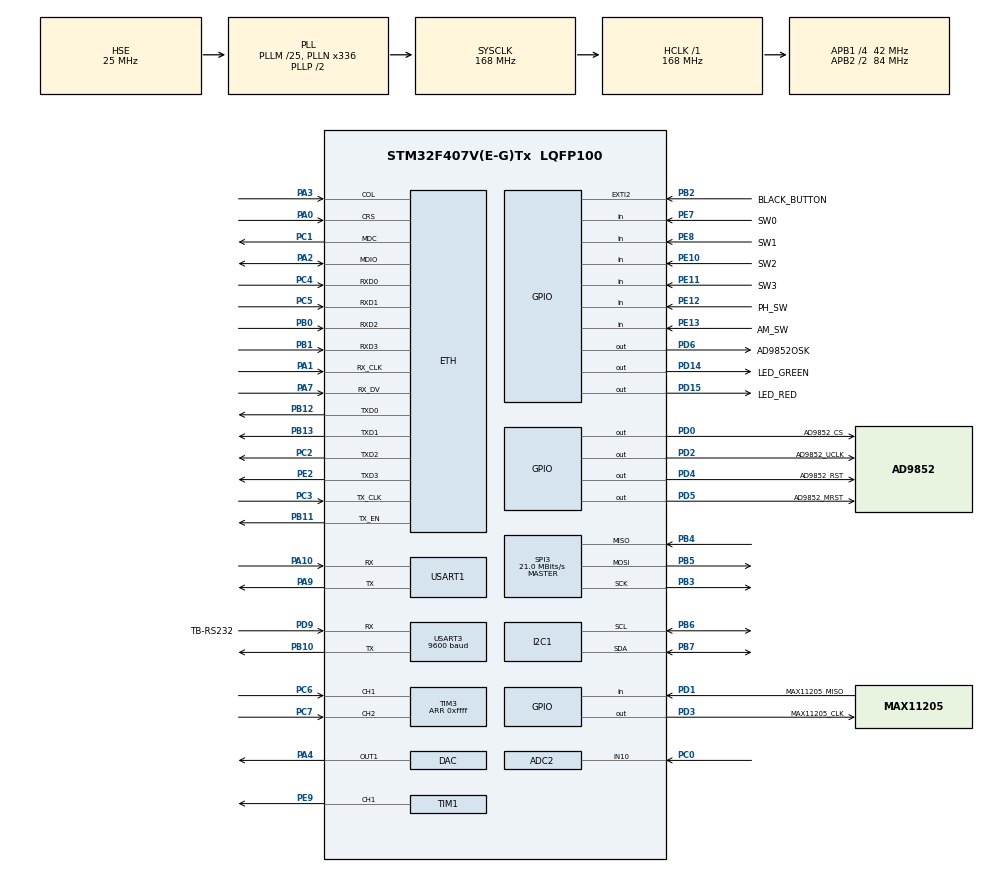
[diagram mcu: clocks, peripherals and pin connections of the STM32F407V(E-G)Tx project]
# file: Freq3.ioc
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ADC2.Channel-11\#ChannelRegularConversion=ADC_CHANNEL_10
ADC2.ContinuousConvMode=ENABLE
ADC2.NbrOfConversion=1
ADC2.NbrOfConversionFlag=1
ADC2.Rank-11\#ChannelRegularConversion=1
ADC2.SamplingTime-11\#ChannelRegularConversion=ADC_SAMPLETIME_3CYCLES
FREERTOS.INCLUDE_eTaskGetState=1
FREERTOS.INCLUDE_uxTaskGetStackHighWaterMark=1
FREERTOS.Tasks01=defaultTask,0,512,StartDefaultTask,Default
FREERTOS.configCHECK_FOR_STACK_OVERFLOW=1
FREERTOS.configMINIMAL_STACK_SIZE=512
FREERTOS.configTOTAL_HEAP_SIZE=40000
FREERTOS.configUSE_MALLOC_FAILED_HOOK=1
Mcu.Family=STM32F4
Mcu.Name=STM32F407V(E-G)Tx
Mcu.Package=LQFP100
NVIC.ADC_IRQn=true\:7\:0\:true\:false\:true
NVIC.EXTI2_IRQn=true\:10\:0\:true\:false\:true
NVIC.PriorityGroup=NVIC_PRIORITYGROUP_4
NVIC.RTC_Alarm_IRQn=true\:8\:0\:true\:false\:true
NVIC.SPI3_IRQn=true\:6\:0\:true\:false\:true
NVIC.TIM6_DAC_IRQn=true\:0\:0\:false\:false\:true
NVIC.TIM8_BRK_TIM12_IRQn=true\:5\:0\:false\:false\:true
NVIC.TimeBase=TIM6_DAC_IRQn
NVIC.TimeBaseIP=TIM6
NVIC.USART3_IRQn=true\:5\:0\:false\:false\:true
PA0-WKUP.Mode=MII
PA0-WKUP.Signal=ETH_CRS
PA1.Mode=MII
PA1.Signal=ETH_RX_CLK
PA10.Mode=Asynchronous
PA10.Signal=USART1_RX
PA13.Mode=Serial-Wire
PA13.Signal=SYS_JTMS-SWDIO
PA14.Mode=Serial-Wire
PA14.Signal=SYS_JTCK-SWCLK
PA2.Mode=MII
PA2.Signal=ETH_MDIO
PA3.Mode=MII
PA3.Signal=ETH_COL
PA4.Signal=COMP_DAC1_group
PA7.Mode=MII
PA7.Signal=ETH_RX_DV
PA9.Mode=Asynchronous
PA9.Signal=USART1_TX
PB0.Mode=MII
PB0.Signal=ETH_RXD2
PB1.Mode=MII
PB1.Signal=ETH_RXD3
PB10.Mode=Asynchronous
PB10.Signal=USART3_TX
PB11.Mode=MII
PB11.Signal=ETH_TX_EN
PB12.Mode=MII
PB12.Signal=ETH_TXD0
PB13.Mode=MII
PB13.Signal=ETH_TXD1
PB2.GPIO_Label=BLACK_BUTTON
PB2.Signal=GPXTI2
PB3.Mode=Full_Duplex_Master
PB3.Signal=SPI3_SCK
PB4.Mode=Full_Duplex_Master
PB4.Signal=SPI3_MISO
PB5.Mode=Full_Duplex_Master
PB5.Signal=SPI3_MOSI
PB6.Mode=I2C
PB6.Signal=I2C1_SCL
PB7.Mode=I2C
PB7.Signal=I2C1_SDA
PC0.Signal=ADCx_IN10
PC1.Mode=MII
PC1.Signal=ETH_MDC
PC14-OSC32_IN.Mode=LSE-External-Oscillator
PC14-OSC32_IN.Signal=RCC_OSC32_IN
PC15-OSC32_OUT.Mode=LSE-External-Oscillator
PC15-OSC32_OUT.Signal=RCC_OSC32_OUT
PC2.Mode=MII
PC2.Signal=ETH_TXD2
PC3.Mode=MII
PC3.Signal=ETH_TX_CLK
PC4.Mode=MII
PC4.Signal=ETH_RXD0
PC5.Mode=MII
PC5.Signal=ETH_RXD1
PC6.Signal=S_TIM3_CH1
PC7.Signal=S_TIM3_CH2
PD0.GPIO_Label=AD9852_CS
PD0.Signal=GPIO_Output
PD1.GPIO_Label=MAX11205_MISO
PD1.Signal=GPIO_Input
PD14.GPIO_Label=LED_GREEN
PD14.Signal=GPIO_Output
PD15.GPIO_Label=LED_RED
PD15.Signal=GPIO_Output
PD2.GPIO_Label=AD9852_UCLK
PD2.Signal=GPIO_Output
PD3.GPIO_Label=MAX11205_CLK
PD3.GPIO_PuPd=GPIO_PULLUP
PD3.GPIO_Speed=GPIO_SPEED_FREQ_VERY_HIGH
PD3.Signal=GPIO_Output
PD4.GPIO_Label=AD9852_RST
PD4.Signal=GPIO_Output
PD5.GPIO_Label=AD9852_MRST
PD5.Signal=GPIO_Output
PD6.GPIO_Label=AD9852OSK
PD6.Signal=GPIO_Output
PD9.GPIO_Label=TB-RS232
PD9.Mode=Asynchronous
PD9.Signal=USART3_RX
PE10.GPIO_Label=SW2
PE10.GPIO_PuPd=GPIO_PULLDOWN
PE10.Signal=GPIO_Input
PE11.GPIO_Label=SW3
PE11.GPIO_PuPd=GPIO_PULLDOWN
PE11.Signal=GPIO_Input
PE12.GPIO_Label=PH_SW
PE12.GPIO_PuPd=GPIO_PULLDOWN
PE12.Signal=GPIO_Input
PE13.GPIO_Label=AM_SW
PE13.GPIO_PuPd=GPIO_PULLDOWN
PE13.Signal=GPIO_Input
PE2.Mode=MII
PE2.Signal=ETH_TXD3
PE7.GPIO_Label=SW0
PE7.GPIO_PuPd=GPIO_PULLDOWN
PE7.Signal=GPIO_Input
PE8.GPIO_Label=SW1
PE8.GPIO_PuPd=GPIO_PULLDOWN
PE8.Signal=GPIO_Input
PE9.Signal=S_TIM1_CH1
PH0-OSC_IN.Mode=HSE-External-Oscillator
PH0-OSC_IN.Signal=RCC_OSC_IN
PH1-OSC_OUT.Mode=HSE-External-Oscillator
PH1-OSC_OUT.Signal=RCC_OSC_OUT
ProjectManager.HeapSize=0x800
ProjectManager.StackSize=0x1000
ProjectManager.TargetToolchain=MDK-ARM V5
RCC.48MHZClocksFreq_Value=84000000
RCC.AHBFreq_Value=168000000
RCC.APB1CLKDivider=RCC_HCLK_DIV4
RCC.APB1Freq_Value=42000000
RCC.APB1TimFreq_Value=84000000
RCC.APB2CLKDivider=RCC_HCLK_DIV2
RCC.APB2Freq_Value=84000000
RCC.APB2TimCLKDivider=1
RCC.APB2TimFreq_Value=84000000
RCC.CortexFreq_Value=168000000
RCC.HCLKFreq_Value=168000000
RCC.HSE_VALUE=25000000
RCC.HSI_VALUE=16000000
RCC.PLLM=25
RCC.PLLN=336
RCC.PLLSourceVirtual=RCC_PLLSOURCE_HSE
RCC.RCC_RTC_Clock_Source=RCC_RTCCLKSOURCE_LSE
RCC.RCC_RTC_Clock_SourceVirtual=RCC_RTCCLKSOURCE_LSE
RCC.SYSCLKFreq_VALUE=168000000
RCC.SYSCLKSource=RCC_SYSCLKSOURCE_PLLCLK
RCC.VCOOutputFreq_Value=336000000
RTC.AlarmMask=RTC_ALARMMASK_ALL
RTC.Date=31
RTC.Format=RTC_FORMAT_BIN
RTC.WeekDay=RTC_WEEKDAY_WEDNESDAY
RTC.Year=70
SH.ADCx_IN10.0=ADC2_IN10,IN10
SH.COMP_DAC1_group.0=DAC_OUT1,DAC_OUT1
SH.S_TIM1_CH1.0=TIM1_CH1,PWM Generation1 CH1
SH.S_TIM3_CH1.0=TIM3_CH1,Encoder_Interface
SH.S_TIM3_CH2.0=TIM3_CH2,Encoder_Interface
SPI3.CalculateBaudRate=21.0 MBits/s
SPI3.Mode=SPI_MODE_MASTER
TIM12.Period=41999
TIM12.Prescaler=1
TIM12.Pulse-Output\ Compare1\ No\ Output=21000
TIM3.EncoderMode=TIM_ENCODERMODE_TI12
TIM3.Period=0xffff
USART3.BaudRate=9600
VP_FREERTOS_VS_ENABLE.Mode=Enabled
VP_RTC_VS_RTC_Alarm_A_Intern.Mode=Alarm A
VP_SYS_VS_tim6.Mode=TIM6
VP_TIM12_VS_no_output1.Mode=Output Compare1 No Output
board=Freq3

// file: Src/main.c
/**
  ******************************************************************************
  * File Name          : main.c
  * Description        : Main program body
  ******************************************************************************
  *
  * COPYRIGHT(c) 2016 STMicroelectronics
  *
  * Redistribution and use in source and binary forms, with or without modification,
  * are permitted provided that the following conditions are met:
  *   1. Redistributions of source code must retain the above copyright notice,
  *      this list of conditions and the following disclaimer.
  *   2. Redistributions in binary form must reproduce the above copyright notice,
  *      this list of conditions and the following disclaimer in the documentation
  *      and/or other materials provided with the distribution.
  *   3. Neither the name of STMicroelectronics nor the names of its contributors
  *      may be used to endorse or promote products derived from this software
  *      without specific prior written permission.
  *
  * THIS SOFTWARE IS PROVIDED BY THE COPYRIGHT HOLDERS AND CONTRIBUTORS "AS IS"
  * AND ANY EXPRESS OR IMPLIED WARRANTIES, INCLUDING, BUT NOT LIMITED TO, THE
  * IMPLIED WARRANTIES OF MERCHANTABILITY AND FITNESS FOR A PARTICULAR PURPOSE ARE
  * DISCLAIMED. IN NO EVENT SHALL THE COPYRIGHT HOLDER OR CONTRIBUTORS BE LIABLE
  * FOR ANY DIRECT, INDIRECT, INCIDENTAL, SPECIAL, EXEMPLARY, OR CONSEQUENTIAL
  * DAMAGES (INCLUDING, BUT NOT LIMITED TO, PROCUREMENT OF SUBSTITUTE GOODS OR
  * SERVICES; LOSS OF USE, DATA, OR PROFITS; OR BUSINESS INTERRUPTION) HOWEVER
  * CAUSED AND ON ANY THEORY OF LIABILITY, WHETHER IN CONTRACT, STRICT LIABILITY,
  * OR TORT (INCLUDING NEGLIGENCE OR OTHERWISE) ARISING IN ANY WAY OUT OF THE USE
  * OF THIS SOFTWARE, EVEN IF ADVISED OF THE POSSIBILITY OF SUCH DAMAGE.
  *
  ******************************************************************************
  */
#include "stm32f4xx_hal.h"
#include "cmsis_os.h"

/* USER CODE BEGIN Includes */

#include <string.h>
#include <math.h>

#include "pcf8574.h"
#include "LiquidCrystal_I2C.h"
#include "tbolt.h"
#include "ad9852.h"

/* USER CODE END Includes */

ADC_HandleTypeDef hadc2;

DAC_HandleTypeDef hdac;

ETH_HandleTypeDef heth;

I2C_HandleTypeDef hi2c1;

RTC_HandleTypeDef hrtc;

SPI_HandleTypeDef hspi3;

TIM_HandleTypeDef htim1;
TIM_HandleTypeDef htim3;
TIM_HandleTypeDef htim12;

UART_HandleTypeDef huart1;
UART_HandleTypeDef huart3;

osThreadId defaultTaskHandle;

/* USER CODE BEGIN PV */

/* Private variables ---------------------------------------------------------*/

//#define __FPU_PRESENT 1
#define RTC_CLOCK_SOURCE_LSE

#define LCDADDR 0x27    // PCF8574T: If soldered - 0x20, if un-soldered - 0x27

#define ENCODERDELAY    10  // 1ms // 10mS // 512L;    // Delay before to check new value from Encoder
#define KNOPKADELAY     500 // 500mS

#define REDon()         HAL_GPIO_WritePin(GPIOD, GPIO_PIN_14, GPIO_PIN_SET)
#define REDoff()        HAL_GPIO_WritePin(GPIOD, GPIO_PIN_14, GPIO_PIN_RESET)
#define REDtgl()        HAL_GPIO_TogglePin(GPIOD, GPIO_PIN_14);
#define GREENon()       HAL_GPIO_WritePin(GPIOD, GPIO_PIN_15, GPIO_PIN_SET)
#define GREENoff()      HAL_GPIO_WritePin(GPIOD, GPIO_PIN_15, GPIO_PIN_RESET)
#define GREENtgl()      HAL_GPIO_TogglePin(GPIOD, GPIO_PIN_15);

#define MULT_SW_PORT    GPIOE            // PE
#define MULT_SW_10x     GPIO_PIN_7
#define MULT_SW_100x    GPIO_PIN_8
#define MULT_SW_1000x   GPIO_PIN_10
#define MULT_SW_10000x  GPIO_PIN_11

#define MAX11205	18000000L	// 1.8V * 10^7
#define MAXDDSFREQ  80000000L   // Max DDS Frequency (10Mhz x 20m but Neuqist dictate 80Mhz)

// LCD string
uint8_t lcdstr[MAX_LCD_STRING+3];
__IO uint8_t tptr[TSBUF];

// PCF structure
PCF8574_HandleTypeDef	pcf;

// Encoder
uint8_t uwDirection = 1;
int32_t uwValue = 0L;

// Variable used to get converted value
__IO uint16_t uhADCxConvertedValue = 0;

// Buttons
volatile uint16_t knopka_cnt = 0;
__IO uint8_t  knopka0 = 0;
__IO uint8_t  knopka15 = 0;

// RTC
RTC_TimeTypeDef stimestructureget;
RTC_DateTypeDef sdatestructureget;

// Alarm A flag
volatile uint8_t ALA = 0;

// SPI transfer states for AD9852 communication
__IO uint32_t wTransferState = TRANSFER_COMPLETE;
__IO uint32_t rTransferState = TRANSFER_COMPLETE;

// Extern
extern uint8_t syncf; 			// Its time to sync clocks
extern uint8_t utcf;		    // Guess: GPS or UTC ?
extern uint8_t sat_cnt;		    // Current Number of Visible Satelites

// Threading -----------------------------------------------

UBaseType_t uxHighWaterMark;

osThreadId DDS_threadHandle;
osThreadId TB_threadHandle;

osMutexDef (LCDmutexHandle);                        // Declare LCD mutex
osMutexId  LCDmutex;                                // Mutex ID

osMutexDef (PRNmutexHandle);                        // Declare PRN mutex
osMutexId  PRNmutex;                                // Mutex ID

//osMailQDef(TBmailHandle, 8, tb_msg);                // Define mail queue
//osMailQId  TBmail;

/* USER CODE END PV */

void SystemClock_Config(void);
static void MX_GPIO_Init(void);
static void MX_ADC2_Init(void);
static void MX_DAC_Init(void);
static void MX_ETH_Init(void);
static void MX_I2C1_Init(void);
static void MX_RTC_Init(void);
static void MX_TIM1_Init(void);
static void MX_TIM3_Init(void);
static void MX_USART1_UART_Init(void);
static void MX_USART3_UART_Init(void);
static void MX_SPI3_Init(void);
static void MX_TIM12_Init(void);
void StartDefaultTask(void const * argument);

void HAL_TIM_MspPostInit(TIM_HandleTypeDef *htim);

/* USER CODE BEGIN PFP */
/* Private function prototypes -----------------------------------------------*/

extern uint32_t max_MAX11205_GPIO_SPI_read(uint8_t uchUseCalibrationMode);

void Error_Handler(void);

#ifdef __GNUC__
/* With GCC/RAISONANCE, small printf (option LD Linker->Libraries->Small printf
   set to 'Yes') calls __io_putchar() */
#define PUTCHAR_PROTOTYPE int __io_putchar(int ch)
#else
#define PUTCHAR_PROTOTYPE int fputc(int ch, FILE *f)
#endif /* __GNUC__ */

// String/value convertors
uint16_t Sltoa(int64_t value, char* result, uint8_t base);
void LCDprint(uint8_t x, uint8_t y, char *str);
uint8_t BCDToDecimal (uint8_t bcdByte);
uint8_t DecimalToBCD (uint8_t decimalByte);
void StrPad(uint8_t l);
void printfcomma (int32_t n, char *str);
void format_commas(int32_t n, char *out);
uint16_t WeekDay(uint16_t CurrentYear, uint8_t CurrentMonth, uint8_t CurrentDay);

// uS delays
void DWT_Init(void);
uint32_t DWT_Get(void);
__inline uint32_t DWT_Compare(uint32_t t0, uint32_t t1);
void DWT_Delay(uint32_t us); // microseconds

// Threads
void StartDDS_thread(void const *p);
void StartTB_thread(void const *p);
void StartADC_thread(void const *p);
void StartTBswitch_thread(void const *p);

// Other
static void LCD_flash(uint8_t cnt, uint8_t delay);
uint16_t encoder_get_value(void);

/* USER CODE END PFP */

int main(void)
{

  /* USER CODE BEGIN 1 */

    uint8_t str[MAX_LCD_STRING+2];
    uint64_t fi = 0L;
    uint32_t esc1, esc2, esc3;

  /* USER CODE END 1 */

  /* MCU Configuration----------------------------------------------------------*/

  /* Reset of all peripherals, Initializes the Flash interface and the Systick. */
  HAL_Init();

  /* Configure the system clock */
  SystemClock_Config();

  /* Initialize all configured peripherals */
  MX_GPIO_Init();
  MX_ADC2_Init();
  MX_DAC_Init();
  MX_ETH_Init();
  MX_I2C1_Init();
  MX_RTC_Init();
  MX_TIM1_Init();
  MX_TIM3_Init();
  MX_USART1_UART_Init();
  MX_USART3_UART_Init();
  MX_SPI3_Init();
  MX_TIM12_Init();

  /* USER CODE BEGIN 2 */

    // Fix the BUG
    if(!(*(volatile uint32_t *) (BDCR_RTCEN_BB)))__HAL_RCC_RTC_ENABLE();

    //if(HAL_RCC_ClockConfig(&RCC_ClkInitStruct, FLASH_LATENCY_5) != HAL_OK) {
    //    Error_Handler();
    //}

    // STM32F405x/407x/415x/417x Revision Z devices: prefetch is supported
    if (HAL_GetREVID() == 0x1001) {
        __HAL_FLASH_PREFETCH_BUFFER_ENABLE();
    }

    printf("\r\n\r\n# Board has started with %d Hz Sytem Clock\r\n", SystemCoreClock);
#if (__FPU_PRESENT == 1) && (__FPU_USED == 1)
        // SCB->CPACR |= ((3UL << 10*2)|(3UL << 11*2));  // set CP10 and CP11 Full Access
    printf("# FPU Initialized\r\n"); // Initialized
#endif

DWT_Init();     // Init uSec delays

    // Init PCF8574 I2C port extender (using in LCD interface)
    pcf.PCF_I2C_ADDRESS=7;
    pcf.PCF_I2C_TIMEOUT=1000;
    pcf.i2c.Instance=I2C1;
    pcf.i2c.Init.ClockSpeed=400000;

    if(PCF8574_Init(&pcf)!= PCF8574_OK){
        printf("# ERROR with PCF8574 port extension on LCD module\r\n");
        Error_Handler();
    } else {
        printf("# PCF8574 has been initialised\r\n");
    }

    LCDI2C_init(LCDADDR, 20, 4);        // LCD 20x4
    LCD_flash(3, 250); // ------- Quick 3 blinks of backlight  -------------
    LCDI2C_write_String("OSC: ");
    LCDI2C_setCursor(5, 0);
    Sltoa(SystemCoreClock, str, 10);
    LCDI2C_write_String(str);
    printf("# LCD module has been initialized\r\n");
    HAL_Delay(2000);
    LCDI2C_clear();

    // Encoder on Tim3
    HAL_TIM_Encoder_Start(&htim3, TIM_CHANNEL_ALL);
    printf("# Encoder turned On\r\n");

    // Start Timer 12 [Timer-De-bouncer]
    // 1ms = 1000Hz, 1000Hz = 84Mhz/840000, 84000 too high (65536 is a MAX for 16 bit)
    // Prescaler = 2, then 84000 --> 420000, then Period = 42000-1 = 41999, and pulse will be 42000/2 = 21000 for 50% duty-cycles
    if(HAL_TIM_Base_Start_IT(&htim12) != HAL_OK) {
        printf("# Cannot start timer-debouncer [TIM12]\r\n");
        Error_Handler();
    } else {
        printf("# De-bouncer has been activated\r\n");
    }

    // Start ADC the conversion process #######################################
    if(HAL_ADC_Start_IT(&hadc2) != HAL_OK) {
        Error_Handler();
    }

  /* USER CODE END 2 */

  /* USER CODE BEGIN RTOS_MUTEX */
  /* add mutexes, ... */

    LCDmutex = osMutexCreate(osMutex(LCDmutexHandle));
    if (LCDmutex != NULL)  {
        printf("# LCD mutex has been created\r\n");
    }

    PRNmutex = osMutexCreate(osMutex(PRNmutexHandle));
    if (PRNmutex != NULL)  {
        printf("# PRN mutex has been created\r\n");
    }

  /* USER CODE END RTOS_MUTEX */

  /* Create the thread(s) */
  /* definition and creation of defaultTask */
  osThreadDef(defaultTask, StartDefaultTask, osPriorityNormal, 0, 512);
  defaultTaskHandle = osThreadCreate(osThread(defaultTask), NULL);

  /* USER CODE BEGIN RTOS_THREADS */
  /* add threads, ... */

    // DDS thread
    osThreadDef(DDS_thread, StartDDS_thread, osPriorityNormal, 1, 1024);    // 2048 | configMINIMAL_STACK_SIZE
    DDS_threadHandle = osThreadCreate(osThread(DDS_thread), NULL);

    // ThunderBolt  threads
    osThreadDef(TB_thread, StartTB_thread, osPriorityNormal, 1, 2048);                           // Assume that 2K will be enough for TB data
    TB_threadHandle = osThreadCreate(osThread(TB_thread), NULL);

    uxHighWaterMark = uxTaskGetStackHighWaterMark( NULL );
    printf("# Default Thread HighWaterMark: %ld\n\r", uxHighWaterMark);

  /* USER CODE END RTOS_THREADS */

  /* Start scheduler */
  osKernelStart();

  /* We should never get here as control is now taken by the scheduler */

  /* Infinite loop */
  while (1)
  {

  }

}

/** System Clock Configuration
*/
void SystemClock_Config(void)
{

  RCC_OscInitTypeDef RCC_OscInitStruct;
  RCC_ClkInitTypeDef RCC_ClkInitStruct;
  RCC_PeriphCLKInitTypeDef PeriphClkInitStruct;

  __HAL_RCC_PWR_CLK_ENABLE();

  __HAL_PWR_VOLTAGESCALING_CONFIG(PWR_REGULATOR_VOLTAGE_SCALE1);

  RCC_OscInitStruct.OscillatorType = RCC_OSCILLATORTYPE_HSE|RCC_OSCILLATORTYPE_LSE;
  RCC_OscInitStruct.HSEState = RCC_HSE_ON;
  RCC_OscInitStruct.LSEState = RCC_LSE_ON;
  RCC_OscInitStruct.PLL.PLLState = RCC_PLL_ON;
  RCC_OscInitStruct.PLL.PLLSource = RCC_PLLSOURCE_HSE;
  RCC_OscInitStruct.PLL.PLLM = 25;
  RCC_OscInitStruct.PLL.PLLN = 336;
  RCC_OscInitStruct.PLL.PLLP = RCC_PLLP_DIV2;
  RCC_OscInitStruct.PLL.PLLQ = 4;
  HAL_RCC_OscConfig(&RCC_OscInitStruct);

  RCC_ClkInitStruct.ClockType = RCC_CLOCKTYPE_HCLK|RCC_CLOCKTYPE_SYSCLK
                              |RCC_CLOCKTYPE_PCLK1|RCC_CLOCKTYPE_PCLK2;
  RCC_ClkInitStruct.SYSCLKSource = RCC_SYSCLKSOURCE_PLLCLK;
  RCC_ClkInitStruct.AHBCLKDivider = RCC_SYSCLK_DIV1;
  RCC_ClkInitStruct.APB1CLKDivider = RCC_HCLK_DIV4;
  RCC_ClkInitStruct.APB2CLKDivider = RCC_HCLK_DIV2;
  HAL_RCC_ClockConfig(&RCC_ClkInitStruct, FLASH_LATENCY_5);

  PeriphClkInitStruct.PeriphClockSelection = RCC_PERIPHCLK_RTC;
  PeriphClkInitStruct.RTCClockSelection = RCC_RTCCLKSOURCE_LSE;
  HAL_RCCEx_PeriphCLKConfig(&PeriphClkInitStruct);

  HAL_SYSTICK_Config(HAL_RCC_GetHCLKFreq()/1000);

  HAL_SYSTICK_CLKSourceConfig(SYSTICK_CLKSOURCE_HCLK);

  /* SysTick_IRQn interrupt configuration */
  HAL_NVIC_SetPriority(SysTick_IRQn, 15, 0);
}

/* ADC2 init function */
void MX_ADC2_Init(void)
{

  ADC_ChannelConfTypeDef sConfig;

    /**Configure the global features of the ADC (Clock, Resolution, Data Alignment and number of conversion)
    */
  hadc2.Instance = ADC2;
  hadc2.Init.ClockPrescaler = ADC_CLOCK_SYNC_PCLK_DIV2;
  hadc2.Init.Resolution = ADC_RESOLUTION_12B;
  hadc2.Init.ScanConvMode = DISABLE;
  hadc2.Init.ContinuousConvMode = ENABLE;
  hadc2.Init.DiscontinuousConvMode = DISABLE;
  hadc2.Init.ExternalTrigConvEdge = ADC_EXTERNALTRIGCONVEDGE_NONE;
  hadc2.Init.DataAlign = ADC_DATAALIGN_RIGHT;
  hadc2.Init.NbrOfConversion = 1;
  hadc2.Init.DMAContinuousRequests = DISABLE;
  hadc2.Init.EOCSelection = ADC_EOC_SINGLE_CONV;
  HAL_ADC_Init(&hadc2);

    /**Configure for the selected ADC regular channel its corresponding rank in the sequencer and its sample time.
    */
  sConfig.Channel = ADC_CHANNEL_10;
  sConfig.Rank = 1;
  sConfig.SamplingTime = ADC_SAMPLETIME_3CYCLES;
  HAL_ADC_ConfigChannel(&hadc2, &sConfig);

}

/* DAC init function */
void MX_DAC_Init(void)
{

  DAC_ChannelConfTypeDef sConfig;

    /**DAC Initialization
    */
  hdac.Instance = DAC;
  HAL_DAC_Init(&hdac);

    /**DAC channel OUT1 config
    */
  sConfig.DAC_Trigger = DAC_TRIGGER_NONE;
  sConfig.DAC_OutputBuffer = DAC_OUTPUTBUFFER_ENABLE;
  HAL_DAC_ConfigChannel(&hdac, &sConfig, DAC_CHANNEL_1);

}

/* ETH init function */
void MX_ETH_Init(void)
{

   uint8_t MACAddr[6] ;

  heth.Instance = ETH;
  heth.Init.AutoNegotiation = ETH_AUTONEGOTIATION_ENABLE;
  heth.Init.PhyAddress = 1;
  MACAddr[0] = 0x00;
  MACAddr[1] = 0x80;
  MACAddr[2] = 0xE1;
  MACAddr[3] = 0x00;
  MACAddr[4] = 0x00;
  MACAddr[5] = 0x00;
  heth.Init.MACAddr = &MACAddr[0];
  heth.Init.RxMode = ETH_RXPOLLING_MODE;
  heth.Init.ChecksumMode = ETH_CHECKSUM_BY_HARDWARE;
  heth.Init.MediaInterface = ETH_MEDIA_INTERFACE_MII;
  HAL_ETH_Init(&heth);

}

/* I2C1 init function */
void MX_I2C1_Init(void)
{

  hi2c1.Instance = I2C1;
  hi2c1.Init.ClockSpeed = 100000;
  hi2c1.Init.DutyCycle = I2C_DUTYCYCLE_2;
  hi2c1.Init.OwnAddress1 = 0;
  hi2c1.Init.AddressingMode = I2C_ADDRESSINGMODE_7BIT;
  hi2c1.Init.DualAddressMode = I2C_DUALADDRESS_DISABLE;
  hi2c1.Init.OwnAddress2 = 0;
  hi2c1.Init.GeneralCallMode = I2C_GENERALCALL_DISABLE;
  hi2c1.Init.NoStretchMode = I2C_NOSTRETCH_DISABLE;
  HAL_I2C_Init(&hi2c1);

}

/* RTC init function */
void MX_RTC_Init(void)
{

  RTC_TimeTypeDef sTime;
  RTC_DateTypeDef sDate;
  RTC_AlarmTypeDef sAlarm;

    /**Initialize RTC and set the Time and Date
    */
  hrtc.Instance = RTC;
  hrtc.Init.HourFormat = RTC_HOURFORMAT_24;
  hrtc.Init.AsynchPrediv = 127;
  hrtc.Init.SynchPrediv = 255;
  hrtc.Init.OutPut = RTC_OUTPUT_DISABLE;
  hrtc.Init.OutPutPolarity = RTC_OUTPUT_POLARITY_HIGH;
  hrtc.Init.OutPutType = RTC_OUTPUT_TYPE_OPENDRAIN;
  HAL_RTC_Init(&hrtc);

  sTime.Hours = 0;
  sTime.Minutes = 0;
  sTime.Seconds = 0;
  sTime.DayLightSaving = RTC_DAYLIGHTSAVING_NONE;
  sTime.StoreOperation = RTC_STOREOPERATION_RESET;
  HAL_RTC_SetTime(&hrtc, &sTime, RTC_FORMAT_BIN);

  sDate.WeekDay = RTC_WEEKDAY_WEDNESDAY;
  sDate.Month = RTC_MONTH_JANUARY;
  sDate.Date = 31;
  sDate.Year = 70;

  HAL_RTC_SetDate(&hrtc, &sDate, RTC_FORMAT_BIN);

    /**Enable the Alarm A
    */
  sAlarm.AlarmTime.Hours = 0;
  sAlarm.AlarmTime.Minutes = 0;
  sAlarm.AlarmTime.Seconds = 0;
  sAlarm.AlarmTime.SubSeconds = 0;
  sAlarm.AlarmTime.DayLightSaving = RTC_DAYLIGHTSAVING_NONE;
  sAlarm.AlarmTime.StoreOperation = RTC_STOREOPERATION_RESET;
  sAlarm.AlarmMask = RTC_ALARMMASK_ALL;
  sAlarm.AlarmSubSecondMask = RTC_ALARMSUBSECONDMASK_ALL;
  sAlarm.AlarmDateWeekDaySel = RTC_ALARMDATEWEEKDAYSEL_DATE;
  sAlarm.AlarmDateWeekDay = 1;
  sAlarm.Alarm = RTC_ALARM_A;
  HAL_RTC_SetAlarm_IT(&hrtc, &sAlarm, RTC_FORMAT_BIN);

}

/* SPI3 init function */
void MX_SPI3_Init(void)
{

  hspi3.Instance = SPI3;
  hspi3.Init.Mode = SPI_MODE_MASTER;
  hspi3.Init.Direction = SPI_DIRECTION_2LINES;
  hspi3.Init.DataSize = SPI_DATASIZE_8BIT;
  hspi3.Init.CLKPolarity = SPI_POLARITY_LOW;
  hspi3.Init.CLKPhase = SPI_PHASE_1EDGE;
  hspi3.Init.NSS = SPI_NSS_SOFT;
  hspi3.Init.BaudRatePrescaler = SPI_BAUDRATEPRESCALER_2;
  hspi3.Init.FirstBit = SPI_FIRSTBIT_MSB;
  hspi3.Init.TIMode = SPI_TIMODE_DISABLE;
  hspi3.Init.CRCCalculation = SPI_CRCCALCULATION_DISABLE;
  hspi3.Init.CRCPolynomial = 10;
  HAL_SPI_Init(&hspi3);

}

/* TIM1 init function */
void MX_TIM1_Init(void)
{

  TIM_MasterConfigTypeDef sMasterConfig;
  TIM_BreakDeadTimeConfigTypeDef sBreakDeadTimeConfig;
  TIM_OC_InitTypeDef sConfigOC;

  htim1.Instance = TIM1;
  htim1.Init.Prescaler = 0;
  htim1.Init.CounterMode = TIM_COUNTERMODE_UP;
  htim1.Init.Period = 0;
  htim1.Init.ClockDivision = TIM_CLOCKDIVISION_DIV1;
  htim1.Init.RepetitionCounter = 0;
  HAL_TIM_PWM_Init(&htim1);

  sMasterConfig.MasterOutputTrigger = TIM_TRGO_RESET;
  sMasterConfig.MasterSlaveMode = TIM_MASTERSLAVEMODE_DISABLE;
  HAL_TIMEx_MasterConfigSynchronization(&htim1, &sMasterConfig);

  sBreakDeadTimeConfig.OffStateRunMode = TIM_OSSR_DISABLE;
  sBreakDeadTimeConfig.OffStateIDLEMode = TIM_OSSI_DISABLE;
  sBreakDeadTimeConfig.LockLevel = TIM_LOCKLEVEL_OFF;
  sBreakDeadTimeConfig.DeadTime = 0;
  sBreakDeadTimeConfig.BreakState = TIM_BREAK_DISABLE;
  sBreakDeadTimeConfig.BreakPolarity = TIM_BREAKPOLARITY_HIGH;
  sBreakDeadTimeConfig.AutomaticOutput = TIM_AUTOMATICOUTPUT_DISABLE;
  HAL_TIMEx_ConfigBreakDeadTime(&htim1, &sBreakDeadTimeConfig);

  sConfigOC.OCMode = TIM_OCMODE_PWM1;
  sConfigOC.Pulse = 0;
  sConfigOC.OCPolarity = TIM_OCPOLARITY_HIGH;
  sConfigOC.OCNPolarity = TIM_OCNPOLARITY_HIGH;
  sConfigOC.OCFastMode = TIM_OCFAST_DISABLE;
  sConfigOC.OCIdleState = TIM_OCIDLESTATE_RESET;
  sConfigOC.OCNIdleState = TIM_OCNIDLESTATE_RESET;
  HAL_TIM_PWM_ConfigChannel(&htim1, &sConfigOC, TIM_CHANNEL_1);

  HAL_TIM_MspPostInit(&htim1);

}

/* TIM3 init function */
void MX_TIM3_Init(void)
{

  TIM_Encoder_InitTypeDef sConfig;
  TIM_MasterConfigTypeDef sMasterConfig;

  htim3.Instance = TIM3;
  htim3.Init.Prescaler = 0;
  htim3.Init.CounterMode = TIM_COUNTERMODE_UP;
  htim3.Init.Period = 0xffff;
  htim3.Init.ClockDivision = TIM_CLOCKDIVISION_DIV1;
  sConfig.EncoderMode = TIM_ENCODERMODE_TI12;
  sConfig.IC1Polarity = TIM_ICPOLARITY_RISING;
  sConfig.IC1Selection = TIM_ICSELECTION_DIRECTTI;
  sConfig.IC1Prescaler = TIM_ICPSC_DIV1;
  sConfig.IC1Filter = 0;
  sConfig.IC2Polarity = TIM_ICPOLARITY_RISING;
  sConfig.IC2Selection = TIM_ICSELECTION_DIRECTTI;
  sConfig.IC2Prescaler = TIM_ICPSC_DIV1;
  sConfig.IC2Filter = 0;
  HAL_TIM_Encoder_Init(&htim3, &sConfig);

  sMasterConfig.MasterOutputTrigger = TIM_TRGO_RESET;
  sMasterConfig.MasterSlaveMode = TIM_MASTERSLAVEMODE_DISABLE;
  HAL_TIMEx_MasterConfigSynchronization(&htim3, &sMasterConfig);

}

/* TIM12 init function */
void MX_TIM12_Init(void)
{

  TIM_OC_InitTypeDef sConfigOC;

  htim12.Instance = TIM12;
  htim12.Init.Prescaler = 1;
  htim12.Init.CounterMode = TIM_COUNTERMODE_UP;
  htim12.Init.Period = 41999;
  htim12.Init.ClockDivision = TIM_CLOCKDIVISION_DIV1;
  HAL_TIM_OC_Init(&htim12);

  sConfigOC.OCMode = TIM_OCMODE_TIMING;
  sConfigOC.Pulse = 21000;
  sConfigOC.OCPolarity = TIM_OCPOLARITY_HIGH;
  sConfigOC.OCFastMode = TIM_OCFAST_DISABLE;
  HAL_TIM_OC_ConfigChannel(&htim12, &sConfigOC, TIM_CHANNEL_1);

}

/* USART1 init function */
void MX_USART1_UART_Init(void)
{

  huart1.Instance = USART1;
  huart1.Init.BaudRate = 115200;
  huart1.Init.WordLength = UART_WORDLENGTH_8B;
  huart1.Init.StopBits = UART_STOPBITS_1;
  huart1.Init.Parity = UART_PARITY_NONE;
  huart1.Init.Mode = UART_MODE_TX_RX;
  huart1.Init.HwFlowCtl = UART_HWCONTROL_NONE;
  huart1.Init.OverSampling = UART_OVERSAMPLING_16;
  HAL_UART_Init(&huart1);

}

/* USART3 init function */
void MX_USART3_UART_Init(void)
{

  huart3.Instance = USART3;
  huart3.Init.BaudRate = 9600;
  huart3.Init.WordLength = UART_WORDLENGTH_8B;
  huart3.Init.StopBits = UART_STOPBITS_1;
  huart3.Init.Parity = UART_PARITY_NONE;
  huart3.Init.Mode = UART_MODE_TX_RX;
  huart3.Init.HwFlowCtl = UART_HWCONTROL_NONE;
  huart3.Init.OverSampling = UART_OVERSAMPLING_16;
  HAL_UART_Init(&huart3);

}

/** Configure pins as
        * Analog
        * Input
        * Output
        * EVENT_OUT
        * EXTI
*/
void MX_GPIO_Init(void)
{

  GPIO_InitTypeDef GPIO_InitStruct;

  /* GPIO Ports Clock Enable */
  __HAL_RCC_GPIOE_CLK_ENABLE();
  __HAL_RCC_GPIOC_CLK_ENABLE();
  __HAL_RCC_GPIOH_CLK_ENABLE();
  __HAL_RCC_GPIOA_CLK_ENABLE();
  __HAL_RCC_GPIOB_CLK_ENABLE();
  __HAL_RCC_GPIOD_CLK_ENABLE();

  /*Configure GPIO pin : BLACK_BUTTON_Pin */
  GPIO_InitStruct.Pin = BLACK_BUTTON_Pin;
  GPIO_InitStruct.Mode = GPIO_MODE_IT_RISING;
  GPIO_InitStruct.Pull = GPIO_NOPULL;
  HAL_GPIO_Init(BLACK_BUTTON_GPIO_Port, &GPIO_InitStruct);

  /*Configure GPIO pins : SW0_Pin SW1_Pin SW2_Pin SW3_Pin
                           PH_SW_Pin AM_SW_Pin */
  GPIO_InitStruct.Pin = SW0_Pin|SW1_Pin|SW2_Pin|SW3_Pin
                          |PH_SW_Pin|AM_SW_Pin;
  GPIO_InitStruct.Mode = GPIO_MODE_INPUT;
  GPIO_InitStruct.Pull = GPIO_PULLDOWN;
  HAL_GPIO_Init(GPIOE, &GPIO_InitStruct);

  /*Configure GPIO pins : LED_GREEN_Pin LED_RED_Pin AD9852_CS_Pin AD9852_UCLK_Pin
                           AD9852_RST_Pin AD9852_MRST_Pin AD9852OSK_Pin */
  GPIO_InitStruct.Pin = LED_GREEN_Pin|LED_RED_Pin|AD9852_CS_Pin|AD9852_UCLK_Pin
                          |AD9852_RST_Pin|AD9852_MRST_Pin|AD9852OSK_Pin;
  GPIO_InitStruct.Mode = GPIO_MODE_OUTPUT_PP;
  GPIO_InitStruct.Pull = GPIO_NOPULL;
  GPIO_InitStruct.Speed = GPIO_SPEED_FREQ_LOW;
  HAL_GPIO_Init(GPIOD, &GPIO_InitStruct);

  /*Configure GPIO pin : MAX11205_MISO_Pin */
  GPIO_InitStruct.Pin = MAX11205_MISO_Pin;
  GPIO_InitStruct.Mode = GPIO_MODE_INPUT;
  GPIO_InitStruct.Pull = GPIO_NOPULL;
  HAL_GPIO_Init(MAX11205_MISO_GPIO_Port, &GPIO_InitStruct);

  /*Configure GPIO pin : MAX11205_CLK_Pin */
  GPIO_InitStruct.Pin = MAX11205_CLK_Pin;
  GPIO_InitStruct.Mode = GPIO_MODE_OUTPUT_PP;
  GPIO_InitStruct.Pull = GPIO_PULLUP;
  GPIO_InitStruct.Speed = GPIO_SPEED_FREQ_VERY_HIGH;
  HAL_GPIO_Init(MAX11205_CLK_GPIO_Port, &GPIO_InitStruct);

  /*Configure GPIO pin Output Level */
  HAL_GPIO_WritePin(GPIOD, LED_GREEN_Pin|LED_RED_Pin|AD9852_CS_Pin|AD9852_UCLK_Pin
                          |MAX11205_CLK_Pin|AD9852_RST_Pin|AD9852_MRST_Pin|AD9852OSK_Pin, GPIO_PIN_RESET);

  /* EXTI interrupt init*/
  HAL_NVIC_SetPriority(EXTI2_IRQn, 10, 0);
  HAL_NVIC_EnableIRQ(EXTI2_IRQn);

}

/* USER CODE BEGIN 4 */

/**
  * @brief  Retargets the C library printf function to the USART.
  * @param  None
  * @retval None
  */
PUTCHAR_PROTOTYPE
{
  /* Place your implementation of fputc here */
  /* e.g. write a character to the USART2 and Loop until the end of transmission */
  HAL_UART_Transmit(&huart1, (uint8_t *)&ch, 1, 0xFFFF);

  return ch;
}

/**
  * @brief  This function is executed in case of error occurrence.
  * @param  None
  * @retval None
  */
void Error_Handler(void)
{
    /* Flash RED LED */
    while(1) {
        REDtgl();
        HAL_Delay(127);
    }
}

void DWT_Init(void)
{

  if( !( CoreDebug->DEMCR & CoreDebug_DEMCR_TRCENA_Msk ) || !( DWT->CTRL & DWT_CTRL_CYCCNTENA_Msk ) ) {
    DWT->CYCCNT  = 0;
    CoreDebug->DEMCR |= CoreDebug_DEMCR_TRCENA_Msk;
    DWT->CTRL |= DWT_CTRL_CYCCNTENA_Msk; // enable the counter
  }
}

uint32_t DWT_Get(void)
{
  return DWT->CYCCNT;
}

__inline uint32_t DWT_Compare(uint32_t t0, uint32_t t1)
{
    return (t1 - t0); // always works, even if t1<t0
}

void DWT_Delay(uint32_t us) // microseconds (max = 2^32 / (fcpu*1.0E-6) - 1)
{
    uint32_t t0 = DWT->CYCCNT;
    uint32_t dt = us * (SystemCoreClock/1000000UL); // 1us = 72tics @ 72MHz

    //printf("Delay: %lu:%lu\n", t0, dt);
    while (DWT_Compare(t0, DWT->CYCCNT) < dt)  {;}
}

/**
  * @brief  Blinks LCD
  * @param  counter
  * @retval None
  */
static void LCD_flash(uint8_t cnt, uint8_t delay)
{
    while(cnt--) {
        LCDI2C_backlight();
        HAL_Delay(delay);
        LCDI2C_noBacklight();
        HAL_Delay(delay);
    }
    LCDI2C_backlight(); // finish with backlight on
}

/**
 * print comma-separated numbers
 */
void format_commas(int32_t n, char *out)
{
    int32_t c;
    char buf[MAX_LCD_STRING];
    char *p;

    sprintf(buf, "%d", n);
    c = 2 - strlen(buf) % 3;
    for (p = buf; *p != 0; p++) {
       *out++ = *p;
       if (c == 1) {
           *out++ = ',';
       }
       c = (c + 1) % 3;
    }
    *--out = 0;
}

/**
 * print comma-separated numbers
 */
void printfcomma (int32_t n, char *str)
{
    int32_t n2 = 0;
    int32_t scale = 1;
    uint8_t charbuf[MAX_LCD_STRING];

    if (n < 0) {
        str[0] = '-'; str[1] = '\0';
        n = -n;
    } else
        str[0]='\0';

    while (n >= 1000) {
        n2 = n2 + scale * (n % 1000);
        n /= 1000;
        scale *= 1000;
    }
    sprintf(charbuf, "%d", n);
    strcat(str, charbuf);

    while (scale != 1) {
        scale /= 1000;
        n = n2 / scale;
        n2 = n2  % scale;
        sprintf(charbuf, ",%03d", n);
        strcat(str, charbuf);
    }
}

/**
    * SLTOA
    * Fast Long to ASCII converter
    * This function return length of string
 */
uint16_t Sltoa(int64_t value, char* result, uint8_t base)
{
    char *ptr, *ptr1, tmp_char;
    int64_t tmp_value;
    uint16_t len = 0;

    // check that the base if valid
    if (base < 2 || base > 36) {
        *result = '\0';
        return 1;
    }
    ptr = ptr1 = result;
    do {
        len++;
        tmp_value = value;
        value /= base;
        //*ptr++ = "zyxwvutsrqponmlkjihgfedcba9876543210123456789abcdefghijklmnopqrstuvwxyz" [35 + (tmp_value - value * base)];
        *ptr++ = "ZYXWVUTSRQPONMLKJIHGFEDCBA9876543210123456789ABCDEFGHIJKLMNOPQRSTUVWXYZ" [35 + (tmp_value - value * base)];
    } while ( value );

    // Apply negative sign
    if (tmp_value < 0) {
        *ptr++ = '-';
        len++;
    }
    *ptr-- = '\0';
    while(ptr1 < ptr) {
        tmp_char = *ptr;
        *ptr--= *ptr1;
        *ptr1++ = tmp_char;
    }
    return len+1;
}

// Padding string for LCD
void StrPad(uint8_t l)
{
    uint8_t i, flag = 0;

    for(i=0; i<l; i++) {
        if(!flag && lcdstr[i] == '\0')
            flag = 1;
        if(flag)
            lcdstr[i] = ' ';
    }
    lcdstr[i] = '\0';
}

// --------------- BCD COnvertors

uint8_t BCDToDecimal (uint8_t bcdByte)
{
  return (((bcdByte & 0xF0) >> 4) * 10) + (bcdByte & 0x0F);
}

uint8_t DecimalToBCD (uint8_t decimalByte)
{
  return (((decimalByte / 10) << 4) | (decimalByte % 10));
}

/**
  * @brief Determines the weekday
  * @param Year,Month and Day
  * @retval :Returns the CurrentWeekDay Number 1- Sunday 7- Saturday
  */
uint16_t WeekDay(uint16_t CurrentYear, uint8_t CurrentMonth, uint8_t CurrentDay)
{
    uint16_t Temp1,Temp2,Temp3,Temp4,CurrentWeekDay;

    if(CurrentMonth < 3) {
        CurrentMonth=CurrentMonth + 12;
        CurrentYear=CurrentYear-1;
    }

    Temp1=(6*(CurrentMonth + 1))/10;
    Temp2=CurrentYear/4;
    Temp3=CurrentYear/100;
    Temp4=CurrentYear/400;
    CurrentWeekDay=CurrentDay + (2 * CurrentMonth) + Temp1 \
        + CurrentYear + Temp2 - Temp3 + Temp4 +1;
    CurrentWeekDay = 1 + (CurrentWeekDay % 7);

    return(CurrentWeekDay);
}

// IRQ CallBAck functions

/**
  * @brief  Rx Transfer completed callback
  * @param  UartHandle: UART handle
  * @note   This example shows a simple way to report end of IT Rx transfer, and
  *         you can add your own implementation.
  * @retval None
  */
void HAL_UART_RxCpltCallback(UART_HandleTypeDef *UartHandle)
{
    REDoff();
    // Disable the USART RXNE Interrupt
    //__HAL_USART_DISABLE_IT(UartHandle, USART_IT_RXNE);
    //osSignalSet (TB_threadHandle, 0x00000005);  // dereference of RX_THREAD_POINTER
}

/**
  * @brief  UART error callbacks
  * @param  UartHandle: UART handle
  * @note   This example shows a simple way to report transfer error, and you can
  *         add your own implementation.
  * @retval None
  */
void HAL_UART_ErrorCallback(UART_HandleTypeDef *UartHandle)
{
  // Turn RED LED on: Transfer error in reception/transmission process
  REDon();
}

/**
  * @brief  Conversion complete callback in non blocking mode
  * @param  AdcHandle : AdcHandle handle
  * @note   This example shows a simple way to report end of conversion, and
  *         you can add your own implementation.
  * @retval None
  */
void HAL_ADC_ConvCpltCallback(ADC_HandleTypeDef* AdcHandle)
{
  /* Get the converted value of regular channel */
  uhADCxConvertedValue = HAL_ADC_GetValue(AdcHandle);
}

/**
  * @brief  Alarm A callback
  * @param  hrtc : RTC handle
  * @retval None
  */
void HAL_RTC_AlarmAEventCallback(RTC_HandleTypeDef *hrtc)
{
    ALA = 1;
}

/**
  * @brief  Rx Transfer completed callback.
  * @param  hspi: SPI handle
  * @note   This example shows a simple way to report end of Interrupt Tx transfer
  * @retval None
  */
void HAL_SPI_RxCpltCallback(SPI_HandleTypeDef *hspi)
{
    if(hspi->Instance == SPI3) {
        rTransferState = TRANSFER_COMPLETE;
        REDoff();
    }
}

/**
  * @brief  TxRx Transfer completed callback.
  * @param  hspi: SPI handle
  * @note   This example shows a simple way to report end of Interrupt TxRx transfer
  * @retval None
  */
void HAL_SPI_TxRxCpltCallback(SPI_HandleTypeDef *hspi)
{
    if(hspi->Instance == SPI3) {
        wTransferState = TRANSFER_COMPLETE;
        REDoff();
    }
}

/**
  * @brief  Tx Transfer completed callback.
  * @param  hspi: SPI handle
  * @note   This example shows a simple way to report end of Interrupt Tx transfer
  * @retval None
  */
void HAL_SPI_TxCpltCallback(SPI_HandleTypeDef *hspi)
{
    if(hspi->Instance == SPI3) {
        wTransferState = TRANSFER_COMPLETE;
        REDoff();
    }

}

/**
  * @brief  SPI error callbacks.
  * @param  hspi: SPI handle
  * @note   This example shows a simple way to report transfer error, and you can
  *         add your own implementation.
  * @retval None
  */
void HAL_SPI_ErrorCallback(SPI_HandleTypeDef *hspi)
{
    if(hspi->Instance == SPI3)
        rTransferState = wTransferState = TRANSFER_ERROR;
    // Turn RED LED on: Transfer error in reception/transmission process
    REDon();
}

/**
  * @brief  PWM Pulse finished callback in non blocking mode
  * @param  htim : hadc handle
  * @retval None
  */
void __HAL_TIM_PeriodElapsedCallback(TIM_HandleTypeDef *htim)
{
    // Timer 12. It sets to generate PWM 1000 Hz --> will overflow every milisecond
    // Its using as de-bouncer
    if (htim->Instance == TIM12) {
        if(knopka_cnt)
            --knopka_cnt;
        //if(enctick)  // commented out, as it not necessary for optical encoders
        //    --enctick;
    }
}

/**
  * @brief EXTI line detection callbacks
  * @param GPIO_Pin: Specifies the pins connected EXTI line
  * @retval None
  *
  * Call coming from HAL_GPIO_EXTI_IRQHandler
  */
void HAL_GPIO_EXTI_Callback(uint16_t GPIO_Pin)
{
    if(!knopka_cnt) {
        knopka_cnt = KNOPKADELAY;
        if(GPIO_Pin == GPIO_PIN_2)
            //if(HAL_GPIO_ReadPin(GPIOA, GPIO_Pin))
                knopka0 = 1;
    }
}

/**
    * ENCODER
    * Read Encoder Value
    * This function return DELTA to add to FREQ.
**/
uint16_t encoder_get_value(void) {
  return (TIM3->CNT);
}

// --------------- Threads

// DDS Thread
void StartDDS_thread(void const *p)
{
    uint16_t mult = 1, nEncoder = 0, oEncoder = 0, dEncoder = 0;
    uint8_t str[MAX_LCD_STRING];

    // Init DDS
    osMutexWait (PRNmutex, osWaitForever);
    AD9852_IO_Init();
    osMutexRelease (PRNmutex);

    while (1) {
        // Get the current encoder direction an value
        if( ( (nEncoder = encoder_get_value()) != oEncoder) || (!nEncoder && !oEncoder) ) {
            if(oEncoder >= nEncoder)
                dEncoder = (oEncoder - nEncoder);
            else
                dEncoder = (nEncoder - oEncoder);
            if(dEncoder > 0xF000)
                dEncoder = (uint16_t)((uint16_t)0xFFFF - dEncoder); // Filter zero-crossing and noise
            // Set Multiplier
            if(HAL_GPIO_ReadPin(MULT_SW_PORT, MULT_SW_1000x) == GPIO_PIN_SET) {
                mult = 1000;
            } else  if (HAL_GPIO_ReadPin(MULT_SW_PORT, MULT_SW_100x) == GPIO_PIN_SET) {
                    mult = 100;
                } else  if(HAL_GPIO_ReadPin(MULT_SW_PORT, MULT_SW_10x) == GPIO_PIN_SET) {
                        mult = 10;
                    } else {
                        mult = 1;
                    }
            dEncoder *= mult;
            // Set Value for FREQ
            if( (uwDirection = __HAL_TIM_IS_TIM_COUNTING_DOWN(&htim3)) ) {
                if( (uwValue += dEncoder) > MAXDDSFREQ || uwValue < 0)
                    uwValue = 0L;
            } else {
                if( (uwValue -= dEncoder) < 0 || uwValue > MAXDDSFREQ)
                    uwValue = MAXDDSFREQ;
            }
            oEncoder = nEncoder;

            format_commas(uwValue, str);
            osMutexWait (LCDmutex, osWaitForever);  // Wait indefinitely for a free semaphore
            sprintf(lcdstr, "DDS: %s Hz", str);
            StrPad(MAX_LCD_STRING);
            LCDI2C_setCursor(0, 2);			        // Second String for this packet (T-Bolt status)
            LCDI2C_write_String(lcdstr);
            osMutexRelease (LCDmutex);
            // Set Freq
            AD9852SetFreq1(uwValue);

        } else { // Encoder not active
            osThreadYield();                                                    // Cooperative multitasking
        }
        osDelay(201);
    } // while(1)
}

/**
    * ThunderBolt Status Reading Thread function
    * Thread to parse T-Bolt messages
    * Its constanly retrieving TSIP data from T-BOLT RS232 port

    //#define ETX 0x03
    //#define DLE 0x10
    //0x10 0x8F 0xAB 0x0 0x3 0x92 0x88 0x6 0xF9 0x0 0x10 0x10 0x3 0x2C 0x1 0x11 0x19 0x3 0x7 0xDE 0x10 0x3 0x10
    //0x10 0x8F 0xAB 0x0 0x3 0xCC 0x16 0x6 0xF9 0x0 0x10 0x10 0x3 0x12 0x7 0x15 0x19 0x3 0x7 0xDE 0x10 0x3 0x10
    //<DLE> <id> <data string bytes> <DLE> <ETX>
 */
void StartTB_thread(void const *p)
{
    uint8_t dle_active = 0;
    uint16_t i, ind = 0;
    uint8_t b;
    uint8_t sub, id;
    osEvent evt;

    // Loop through RS232 buffer a byte at a time, handling DLE state.
    //   1. DLE ETX  -- end of packet
    //   2. DLE <c>  -- escape c
    //   3. DLE      -- one of above
    //   4. <c>      -- normal data

    while(1) {
        // Signal flags that are reported as event are automatically cleared.
        //Thread::signal_wait(0x1);
        // Do cycle, then
        // LPC_UART0->IER = 1;               // Enable Rx interrupt

        // wait for a signal
        //evt = osSignalWait (0x00000005, osWaitForever);
        //if (evt.status != osEventSignal)  osThreadYield();
        if(HAL_UART_Receive_IT(&huart3, &b, 1) == HAL_OK) {
            if (dle_active) {
                if (b == ETX) {
                    // 1. End of packet detected (DLE ETX).
                    //printf("# Call tbSwitch --- 0x%X, 0x%X\r\n", tptr[0], tptr[1]);
                    GREENon();
                    // 1. End of packet detected (DLE ETX).
                    osMutexWait (LCDmutex, osWaitForever);                  // Wait indefinitely for a free semaphore
                    // Identify packets by packet id.
                    id = tptr[0]; sub = tptr[1];
                    //printf("\r\n# Call tbSwitch --- 0x%X, 0x%X\r\n", tptr[0], tptr[1]);
                    switch (id) {		              	                    // MSG ID (id)
                        case 0x6D :
                                tsip_6D();
                                break;	        // Satellite Selection Packet (to count visible birds)
                        case 0x8F :
                                // Identify 8F packets by subcode.
                                switch (sub) {				// MSG SUB-ID
                                    case 0xAB : tsip_8F_AB(); break;	// Primary Timing Packet.
                                    case 0xAC : tsip_8F_AC(); break;	// Supplemental Timing Packet
                                    default :
                                    //printf("# GPS: ** 0x%.2X-%.2X TSIP packet not decoded\r\n", id, sub);
                                    break;
                                }
                                break;
                        default :
                                //printf("# GPS: ** 0x%.2X TSIP packet not decoded\r\n", id);
                                break;
                    }
                    osMutexRelease (LCDmutex);
                    GREENoff();
                    dle_active = ind = 0;
                    //osDelay(100);
                } else {
                    // 2. Store escaped character.
                    tptr[ind++] = b;
                    if(ind>TSBUF) dle_active = ind = 0;
                }
                dle_active = 0;
            } else {
                if (b == DLE) {
                    // 3. Mark DLE state and get next character.
                    dle_active = 1;
                } else {
                    // 4. Store normal data byte.
                    tptr[ind++] = b;
                    if(ind>TSBUF) dle_active = ind = 0;
                }
            }

        } else {
            osThreadYield();
        }

    /* Calling the function uxTaskGetStackHighWaterMark() on top will have used some stack space, we would
        therefore now expect uxTaskGetStackHighWaterMark() to return a
        value lower than when it was called on entering the task. */
    //uxHighWaterMark = uxTaskGetStackHighWaterMark( NULL );
    //printf("Default Thread HighWaterMark: %ld\n\r", uxHighWaterMark);
    } // while (1)
}

/* USER CODE END 4 */

/* StartDefaultTask function */
void StartDefaultTask(void const * argument)
{

  /* USER CODE BEGIN 5 */

    uint32_t ADCoValue = 0L;         // Previous Averaged ADC value
    uint64_t fi = 0L;
    uint32_t esc1, esc2;

  /* Infinite loop */
  for(;;)
  {

    if(knopka0) {
        knopka0 = 0;
        GREENon();
        //Clock_Setup();
        //printf("# Clock setup has finished\r\n");
        GREENoff();
    }

    if(ALA) {
        osMutexWait (LCDmutex, osWaitForever);              // Wait indefinitely for a free semaphore
        HAL_RTC_GetTime(&hrtc, &stimestructureget, RTC_FORMAT_BIN);
    	HAL_RTC_GetDate(&hrtc, &sdatestructureget, RTC_FORMAT_BIN);
        if(utcf)
            sprintf(lcdstr, "UTC: %.2u:%.2u:%.2u S: %.2u",
                stimestructureget.Hours,
                stimestructureget.Minutes,
                stimestructureget.Seconds,
                sat_cnt);
        else
            sprintf(lcdstr, "GPS: %.2u:%.2u:%.2u S: %.2u",
                stimestructureget.Hours,
                stimestructureget.Minutes,
                stimestructureget.Seconds,
                sat_cnt);

        //printf("# %s\r\n", lcdstr);				    // DEBUG: GPS TIME

        if(uhADCxConvertedValue != ADCoValue) {                         // Nothing changed - skip and wait 10ms
            printf("AmpD: %lu\r\n", uhADCxConvertedValue);
            ADCoValue = uhADCxConvertedValue;
        }

        StrPad(MAX_LCD_STRING);
        LCDI2C_setCursor(0, 0);			    // First String for this packet (GPS/UTC time)
        LCDI2C_write_String(lcdstr);
        osMutexRelease (LCDmutex);
        if(!syncf && !stimestructureget.Minutes)
            if(!stimestructureget.Seconds && !(stimestructureget.Hours%4))
                syncf = 1;
        ALA = 0;
  }

    //Ready	eReady
    //Running	eRunning (the calling task is querying its own priority)
    //Blocked	eBlocked
    //Suspended	eSuspended
    //Deleted	eDeleted (the tasks TCB is waiting to be cleaned up)
    if (eTaskGetState(TB_threadHandle) != eReady) {
        printf("# T-Bolt thread is not ready\r\n");
    }

    // Get Phase Difference and calculate the degree
    // Note: t = fi/(360 *frq), where fi - is phase diff in degree.
    if( (fi = MAX11205 * (uint64_t) max_MAX11205_GPIO_SPI_read(0)) ) {
        fi = (fi>>16);
        esc1 = (uint32_t)(fi/100000L);
        esc2 = (uint32_t)(fi%100000L);
        if(esc1 || esc2) {
            osMutexWait (LCDmutex, osWaitForever);              // Wait indefinitely for a free semaphore
            //printf("ADC: %lu.%lu degree\r\n", esc1, esc2);
            sprintf(lcdstr, "PhD: %lu.%lu dg", esc1, esc2);
            StrPad(MAX_LCD_STRING);
            //printf("# %s\r\n", lcdstr);
            LCDI2C_setCursor(0, 3);			                    // Last string for Phase Differences
            LCDI2C_write_String(lcdstr);
            osMutexRelease (LCDmutex);
        }
    }

    osDelay(300);
  } // for(;;)

  /* USER CODE END 5 */
}

/************************ (C) COPYRIGHT STMicroelectronics *****END OF FILE****/

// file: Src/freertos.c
/**
  ******************************************************************************
  * File Name          : freertos.c
  * Description        : Code for freertos applications
  ******************************************************************************
  *
  * COPYRIGHT(c) 2016 STMicroelectronics
  *
  * Redistribution and use in source and binary forms, with or without modification,
  * are permitted provided that the following conditions are met:
  *   1. Redistributions of source code must retain the above copyright notice,
  *      this list of conditions and the following disclaimer.
  *   2. Redistributions in binary form must reproduce the above copyright notice,
  *      this list of conditions and the following disclaimer in the documentation
  *      and/or other materials provided with the distribution.
  *   3. Neither the name of STMicroelectronics nor the names of its contributors
  *      may be used to endorse or promote products derived from this software
  *      without specific prior written permission.
  *
  * THIS SOFTWARE IS PROVIDED BY THE COPYRIGHT HOLDERS AND CONTRIBUTORS "AS IS"
  * AND ANY EXPRESS OR IMPLIED WARRANTIES, INCLUDING, BUT NOT LIMITED TO, THE
  * IMPLIED WARRANTIES OF MERCHANTABILITY AND FITNESS FOR A PARTICULAR PURPOSE ARE
  * DISCLAIMED. IN NO EVENT SHALL THE COPYRIGHT HOLDER OR CONTRIBUTORS BE LIABLE
  * FOR ANY DIRECT, INDIRECT, INCIDENTAL, SPECIAL, EXEMPLARY, OR CONSEQUENTIAL
  * DAMAGES (INCLUDING, BUT NOT LIMITED TO, PROCUREMENT OF SUBSTITUTE GOODS OR
  * SERVICES; LOSS OF USE, DATA, OR PROFITS; OR BUSINESS INTERRUPTION) HOWEVER
  * CAUSED AND ON ANY THEORY OF LIABILITY, WHETHER IN CONTRACT, STRICT LIABILITY,
  * OR TORT (INCLUDING NEGLIGENCE OR OTHERWISE) ARISING IN ANY WAY OUT OF THE USE
  * OF THIS SOFTWARE, EVEN IF ADVISED OF THE POSSIBILITY OF SUCH DAMAGE.
  *
  ******************************************************************************
  */

#include "FreeRTOS.h"
#include "task.h"

/* Hook prototypes */
void vApplicationStackOverflowHook(xTaskHandle xTask, signed char *pcTaskName);
void vApplicationMallocFailedHook(void);

/* USER CODE BEGIN 4 */
void vApplicationStackOverflowHook(xTaskHandle xTask, signed char *pcTaskName)
{
   /* Run time stack overflow checking is performed if
   configCHECK_FOR_STACK_OVERFLOW is defined to 1 or 2. This hook function is
   called if a stack overflow is detected. */
}
/* USER CODE END 4 */

/* USER CODE BEGIN 5 */
void vApplicationMallocFailedHook(void)
{
   /* vApplicationMallocFailedHook() will only be called if
   configUSE_MALLOC_FAILED_HOOK is set to 1 in FreeRTOSConfig.h. It is a hook
   function that will get called if a call to pvPortMalloc() fails.
   pvPortMalloc() is called internally by the kernel whenever a task, queue,
   timer or semaphore is created. It is also called by various parts of the
   demo application. If heap_1.c or heap_2.c are used, then the size of the
   heap available to pvPortMalloc() is defined by configTOTAL_HEAP_SIZE in
   FreeRTOSConfig.h, and the xPortGetFreeHeapSize() API function can be used
   to query the size of free heap space that remains (although it does not
   provide information on how the remaining heap might be fragmented). */
}
/* USER CODE END 5 */

/************************ (C) COPYRIGHT STMicroelectronics *****END OF FILE****/
